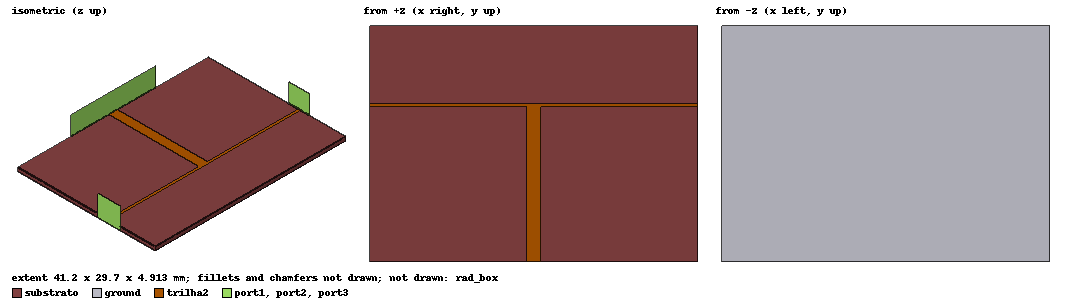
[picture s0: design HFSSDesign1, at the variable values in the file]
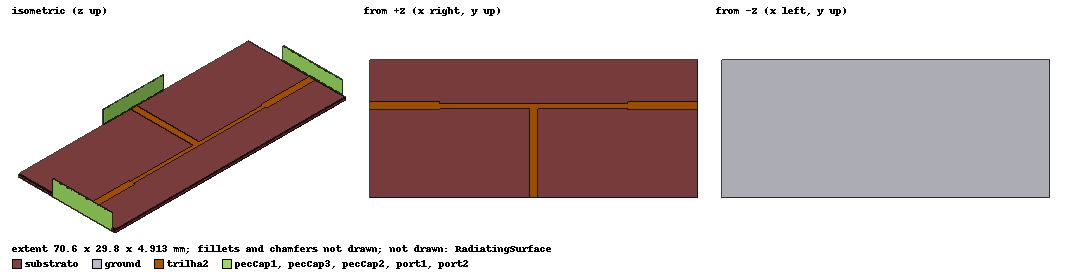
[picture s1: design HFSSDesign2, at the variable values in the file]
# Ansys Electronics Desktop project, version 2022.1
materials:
  vacuum: permittivity=1
  Rogers RO3003 (tm): permittivity=3 dielectric_loss_tangent=0.0013
  pec: conductivity=1e+30

design HFSSDesign1 (HFSS, DrivenTerminal, model units mm)
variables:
  W0 = 1.83mm
  W1 = 0.46mm
  L0 = 19.7mm
  L1 = 20.6mm
  h = 0.813mm
  t = 0.035mm
  M = 10mm
  H_air = 15mm
  W_port1 = 10*W0
  H_port = 6*h
  W_port2 = 10*W1
  Chamfer_T = 0.4mm
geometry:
  substrato [Rogers RO3003 (tm)] = box(corner=(-L1, -L0, 0mm), size=(2*L1, L0+M, h))
  ground [pec] = box(corner=(-L1, -L0, 0mm), size=(2*L1, L0+M, -t))
  trilha1 = box(corner=(-W0/2, -L0, h), size=(W0, L0 - W1/2, t))
  trilha2 [pec] = box(corner=(-L1, -W1/2, h), size=(2*L1, W1, t))
  port1 = rectangle(corner=(-W_port1/2, -L0, 0mm), z_size=H_port, x_size=W_port1)
  port2 = rectangle(corner=(-L1, -W_port2/2, 0mm), y_size=W_port2, z_size=H_port)
  port3 = rectangle(corner=(L1, -W_port2/2, 0mm), y_size=H_port, z_size=W_port2)
  rad_box [vacuum] = box(corner=(-L1, -L0, -t), size=(2*L1, L0 + M, h + t + H_air))
  trilha2.unite(trilha1)
  trilha2.chamfer(Edges=trilha2.edge(12 of 12) LeftDistance=Chamfer_T RightDistance=Chamfer_T ChamferType=Symmetric)
  trilha2.chamfer(Edges=trilha2.edge(11 of 12) LeftDistance=Chamfer_T RightDistance=Chamfer_T ChamferType=Symmetric)
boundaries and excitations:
  Rad1: Radiation Objects=rad_box
  trilha2_T1: Terminal port=1 Faces=trilha2.face(3 of 6) TerminalResistance=50ohm
  trilha2_T2: Terminal port=2 Faces=trilha2.face(-x) TerminalResistance=100ohm
  trilha2_T3: Terminal port=3 Faces=trilha2.face(+x) TerminalResistance=100ohm
  1: Wave Port Faces=port1.face NumModes=1 RenormalizeAllTerminals=false
  2: Wave Port Faces=port2.face NumModes=1 RenormalizeAllTerminals=false
  3: Wave Port Faces=port3.face NumModes=1 RenormalizeAllTerminals=false
  reference conductors: ground
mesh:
  Length1: LengthBased Objects=trilha2 MaxLength=0.5mm
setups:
  Setup1: HfssDriven Frequency=2.28GHz MaxDeltaS=0.005 MaximumPasses=20 MinimumPasses=1 MinimumConvergedPasses=1 PercentRefinement=30 BasisOrder=1 PortAccuracy=2 DrivenSolverType="Direct Solver"
    sweep Sweep: 1.28GHz to 3.28GHz step 0.01GHz; Type=Interpolating SaveFields InterpTolerance=0.5 InterpMaxSolns=250 PassivityErrorTolerance=0.0001
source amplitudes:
  1:1, 2:1: 0V 0deg
  3:1: 1V 0deg
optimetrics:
  ParametricSetup1: Parametric Sim._Setups=[Setup1]
    sweep Chamfer_T: LIN 0.2mm 1mm 0.1mm
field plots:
  Mag_E1: E Field in substrato on Setup1 : LastAdaptive at Freq=2.28GHz Phase=0deg
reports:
  Terminal S Parameter Plot 1 (reflection): dB(St(trilha2_T1,trilha2_T1)), dB(St(trilha2_T2,trilha2_T2)), dB(St(trilha2_T3,trilha2_T3)), dB(St(trilha2_T1,trilha2_T1)) vs Freq on Setup1 : Sweep [Chamfer_T=0.2mm,0.4mm]; markers MX1 at x=2.2826552e+09
  Terminal S Parameter Plot 1 (insertion loss): dB(St(trilha2_T2,trilha2_T1)), dB(St(trilha2_T3,trilha2_T1)) vs Freq on Setup1 : Sweep [Chamfer_T=0.2mm,0.4mm]; markers MX1 at x=2.2817231e+09
  Terminal S Parameter Plot 1 (isolation): dB(St(trilha2_T2,trilha2_T3)) vs Freq on Setup1 : Sweep [Chamfer_T=0.2mm,0.4mm]; markers MX1 at x=2.2801009e+09
  Terminal VSWR Plot 1: VSWRt(trilha2_T1), VSWRt(trilha2_T2), VSWRt(trilha2_T3) vs Freq on Setup1 : Sweep [Chamfer_T=0.2mm,0.4mm]; markers MX1 at x=2.2777583e+09
  Terminal S Parameter Plot 1: dB(St(trilha2_T1,trilha2_T1)), dB(St(trilha2_T2,trilha2_T1)), dB(St(trilha2_T3,trilha2_T1)), dB(St(trilha2_T1,trilha2_T2)), dB(St(trilha2_T2,trilha2_T2)), dB(St(trilha2_T3,trilha2_T2)), dB(St(trilha2_T1,trilha2_T3)), dB(St(trilha2_T2,trilha2_T3)), dB(St(trilha2_T3,trilha2_T3)) vs Freq on Setup1 : Sweep [Chamfer_T=all]
  Terminal Port Zo Plot 3: re(Zot(trilha2_T1,trilha2_T1)), re(Zot(trilha2_T2,trilha2_T2)), re(Zot(trilha2_T3,trilha2_T3)) vs Freq on Setup1 : Sweep [Chamfer_T=0.2mm,0.4mm]; markers MX1 at x=2.2790323e+09

design HFSSDesign2 (HFSS, DrivenTerminal, model units mm)
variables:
  W0 = 1.83mm
  W1 = 0.46mm
  L0 = 19.7mm
  L1 = 20.6mm
  h = 0.813mm
  t = 0.035mm
  M = 10mm
  H_air = 15mm
  W_port1 = 10*W0
  H_port = 6*h
  W_port2 = 10*W1
  Chamfer_T = 0.4mm
  WT = 1mm
  LT = 20.2mm
  L_out = 15mm
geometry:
  substrato [Rogers RO3003 (tm)] = box(corner=(-(LT + L_out), -L0, 0), size=(2 * (LT + L_out), L0 + M, h))
  ground [pec] = box(corner=(-(LT + L_out), -L0, 0), size=(2 * (LT + L_out), L0 + M, -t))
  trilha1 = box(corner=(-W0/2, -L0, h), size=(W0, L0 - WT/2, t))
  trilha2 [pec] = box(corner=(-LT, -WT/2, h), size=(2 * LT, WT, t))
  port1 = rectangle(corner=(-W_port1/2, -L0, 0mm), z_size=H_port, x_size=W_port1)
  port2 = rectangle(corner=(-(LT + L_out), -W_port1/2, 0), y_size=W_port1, z_size=H_port)
  port3 = rectangle(corner=(LT + L_out, -W_port1/2, 0), y_size=W_port1, z_size=H_port)
  trilha2.unite(trilha1)
  L_out_left = box(corner=(-(LT + L_out), -W0/2, h), size=(L_out, W0, t))
  L_out_right = box(corner=(LT, -W0/2, h), size=(L_out, W0, t))
  trilha2.unite(L_out_left, L_out_right)
  trilha2.chamfer(Edges=trilha2.edge(12 of 12) LeftDistance=Chamfer_T RightDistance=Chamfer_T ChamferType=Symmetric)
  trilha2.chamfer(Edges=trilha2.edge(11 of 12) LeftDistance=Chamfer_T RightDistance=Chamfer_T ChamferType=Symmetric)
  RadiatingSurface [vacuum] = region(absolute_offset=43.859649mm on all sides)
  pecCap1 [pec] = sweep_along_normal(port2.face(at (-35.2, 0, 2.439)), length=-0.1mm)
  pecCap2 [pec] = sweep_along_normal(port1.face(at (0, -19.7, 2.439)), length=-0.1mm)
  pecCap3 [pec] = sweep_along_normal(port3.face(at (35.2, 0, 2.439)), length=0.1mm)
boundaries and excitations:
  Open1: Radiation Objects=RadiatingSurface
  trilha2_T1: Terminal port=1 Faces=trilha2.face(4 of 6) TerminalResistance=50ohm
  trilha2_T2: Terminal port=2 Faces=trilha2.face(3 of 6) TerminalResistance=50ohm
  trilha2_T3: Terminal port=3 Faces=trilha2.face(6 of 6) TerminalResistance=50ohm
  1: Wave Port Faces=port2.face(at (-35.2, 0, 2.439)) NumModes=1
  2: Wave Port Faces=port1.face(at (0, -19.7, 2.439)) NumModes=1
  3: Wave Port Faces=port3.face(at (35.2, 0, 2.439)) NumModes=1
  reference conductors: ground
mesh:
  Length1: LengthBased Objects=trilha2 MaxLength=0.5mm
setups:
  Setup1: HfssDriven Frequency=2.28GHz MaxDeltaS=0.005 MaximumPasses=20 MinimumPasses=1 MinimumConvergedPasses=1 PercentRefinement=30 BasisOrder=1 PortAccuracy=2 DrivenSolverType="Direct Solver"
    sweep Sweep: 1.28GHz to 3.28GHz step 0.01GHz; Type=Interpolating SaveFields InterpTolerance=0.5 InterpMaxSolns=250 PassivityErrorTolerance=0.0001
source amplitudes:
  1:1, 3:1: 0V 0deg
  2:1: 1V 0deg
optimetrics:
  ParametricSetup1: Parametric Sim._Setups=[Setup1]
    sweep Chamfer_T: LIN 0.2mm 1mm 0.1mm
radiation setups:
  3D: Infinite Sphere Theta=0deg..180deg step 2deg Phi=-180deg..180deg step 2deg
  Elevation: Infinite Sphere Theta=-180deg..180deg step 1deg Phi=0deg..90deg step 90deg
  Azimuth: Infinite Sphere Theta=90deg..90deg step 0deg Phi=-180deg..180deg step 1deg
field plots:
  Mag_E1: E Field in substrato on Setup1 : LastAdaptive at Freq=2.28GHz Phase=0deg
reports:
  Terminal S Parameter Plot 1 (reflection): dB(St(trilha2_T1,trilha2_T1)), dB(St(trilha2_T2,trilha2_T2)), dB(St(trilha2_T3,trilha2_T3)), dB(St(trilha2_T1,trilha2_T1)) vs Freq on Setup1 : Sweep [Chamfer_T=0.2mm,0.4mm]; markers MX1 at x=2.2826552e+09
  Terminal S Parameter Plot 1 (insertion loss): dB(St(trilha2_T2,trilha2_T1)), dB(St(trilha2_T3,trilha2_T1)) vs Freq on Setup1 : Sweep [Chamfer_T=0.2mm,0.4mm]; markers MX1 at x=2.2817231e+09
  Terminal S Parameter Plot 1 (isolation): dB(St(trilha2_T2,trilha2_T3)) vs Freq on Setup1 : Sweep [Chamfer_T=0.2mm,0.4mm]; markers MX1 at x=2.2801009e+09
  Terminal VSWR Plot 1: VSWRt(trilha2_T1), VSWRt(trilha2_T2), VSWRt(trilha2_T3) vs Freq on Setup1 : Sweep [Chamfer_T=0.2mm,0.4mm]; markers MX1 at x=2.2777583e+09
  Terminal S Parameter Plot 1: dB(St(trilha2_T1,trilha2_T1)), dB(St(trilha2_T2,trilha2_T1)), dB(St(trilha2_T3,trilha2_T1)), dB(St(trilha2_T1,trilha2_T2)), dB(St(trilha2_T2,trilha2_T2)), dB(St(trilha2_T3,trilha2_T2)), dB(St(trilha2_T1,trilha2_T3)), dB(St(trilha2_T2,trilha2_T3)), dB(St(trilha2_T3,trilha2_T3)) vs Freq on Setup1 : Sweep [Chamfer_T=all]
  Terminal Port Zo Plot 3: re(Zot(trilha2_T1,trilha2_T1)), re(Zot(trilha2_T2,trilha2_T2)), re(Zot(trilha2_T3,trilha2_T3)) vs Freq on Setup1 : Sweep [Chamfer_T=0.2mm,0.4mm]; markers MX1 at x=2.2790323e+09
